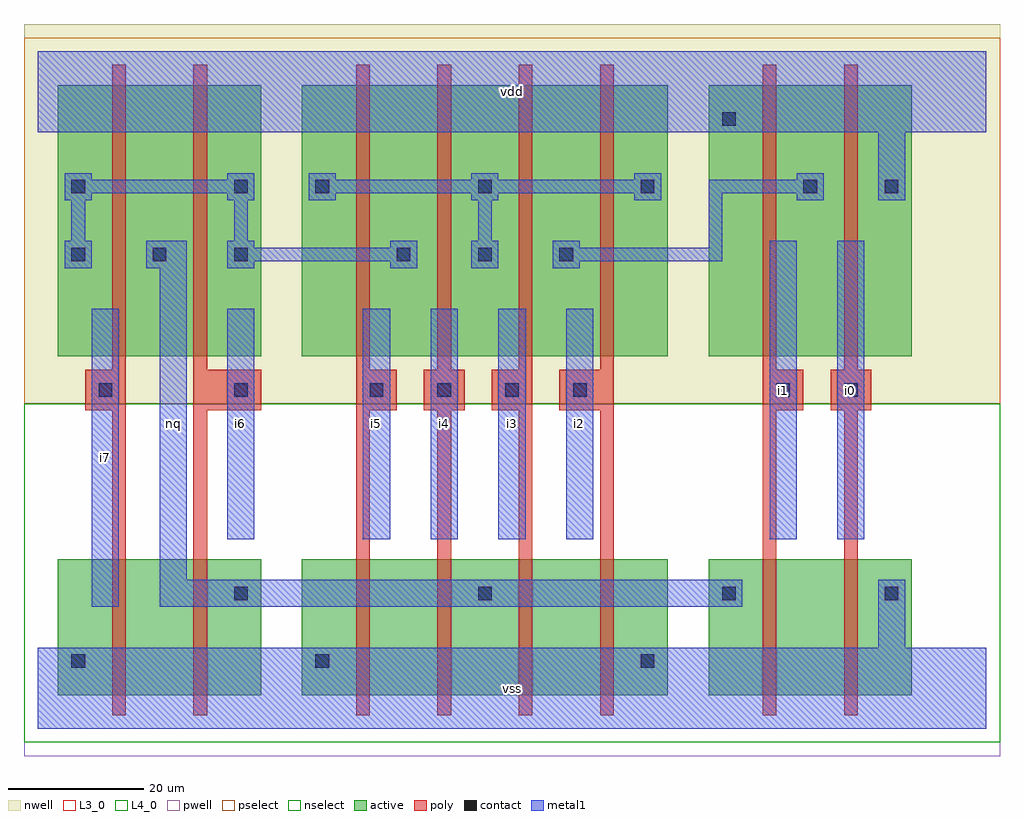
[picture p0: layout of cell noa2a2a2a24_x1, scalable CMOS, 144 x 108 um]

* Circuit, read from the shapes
.subckt noa2a2a2a24_x1 i0 i1 i2 i3 i4 i5 i6 i7 nq vdd vss
M1 n1 i7 vss VSUBS nfet w=20u l=2u
M2 nq i6 n1 VSUBS nfet w=20u l=2u
M3 n2 i5 vss VSUBS nfet w=20u l=2u
M4 nq i4 n2 VSUBS nfet w=20u l=2u
M5 n3 i3 nq VSUBS nfet w=20u l=2u
M6 vss i2 n3 VSUBS nfet w=20u l=2u
M7 n4 i1 nq VSUBS nfet w=20u l=2u
M8 vss i0 n4 VSUBS nfet w=20u l=2u
M9 nq i7 n5 n6 pfet w=40u l=2u
M10 n5 i6 nq n6 pfet w=40u l=2u
M11 n5 i5 n7 n6 pfet w=40u l=2u
M12 n7 i4 n5 n6 pfet w=40u l=2u
M13 n8 i3 n7 n6 pfet w=40u l=2u
M14 n7 i2 n8 n6 pfet w=40u l=2u
M15 n8 i1 vdd n6 pfet w=40u l=2u
M16 vdd i0 n8 n6 pfet w=40u l=2u
.ends

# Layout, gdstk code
import gdstk
lib = gdstk.Library(unit=1e-6, precision=1e-09)
def R(c, l, rs):  # rectangles x0, y0, x1, y1
    for r in rs: c.add(gdstk.rectangle(r[:2], r[2:], *l))
def A(c, l, x, y, w, h, nx, ny, dx, dy):  # array of equal rectangles
    R(c, l, [(x+i*dx, y+j*dy, x+i*dx+w, y+j*dy+h) for i in range(nx) for j in range(ny)])
L3_0 = (3, 0)
L4_0 = (4, 0)
contact = (25, 0)
pwell = (41, 0)
nwell = (42, 0)
active = (43, 0)
pselect = (44, 0)
nselect = (45, 0)
poly = (46, 0)
metal1 = (49, 0)

noa2a2a2a24_x1 = lib.new_cell('noa2a2a2a24_x1')
R(noa2a2a2a24_x1, L3_0, [(3,5,33,25), (39,5,93,25), (99,5,129,25)])
R(noa2a2a2a24_x1, L4_0, [(3,55,33,95), (39,55,93,95), (99,55,129,95)])
A(noa2a2a2a24_x1, contact, 29, 19, 2, 2, 3, 1, 36, 0)
A(noa2a2a2a24_x1, contact, 9, 49, 2, 2, 3, 1, 20, 0)
A(noa2a2a2a24_x1, contact, 59, 49, 2, 2, 3, 1, 10, 0)
A(noa2a2a2a24_x1, contact, 5, 69, 2, 2, 3, 1, 12, 0)
A(noa2a2a2a24_x1, contact, 53, 69, 2, 2, 3, 1, 12, 0)
A(noa2a2a2a24_x1, contact, 41, 79, 2, 2, 4, 1, 24, 0)
R(noa2a2a2a24_x1, contact, [(5,9,7,11), (41,9,43,11), (89,9,91,11), (125,19,127,21), (109,49,111,51), (119,49,121,51), (5,79,7,81), (29,79,31,81), (125,79,127,81), (101,89,103,91)])
R(noa2a2a2a24_x1, pwell, [(-2,-4,142,48)])
R(noa2a2a2a24_x1, nwell, [(-2,48,142,104)])
R(noa2a2a2a24_x1, active, [(3,5,33,25), (39,5,93,25), (99,5,129,25), (3,55,33,95), (39,55,93,95), (99,55,129,95)])
R(noa2a2a2a24_x1, pselect, [(-2,48,142,102)])
R(noa2a2a2a24_x1, nselect, [(-2,-2,142,48)])
A(noa2a2a2a24_x1, poly, 47, 2, 2, 45, 4, 2, 12, 51)
A(noa2a2a2a24_x1, poly, 47, 47, 6, 6, 3, 1, 10, 0)
R(noa2a2a2a24_x1, poly, [(11,2,13,47), (23,2,25,47), (107,2,109,47), (119,2,121,47), (7,47,13,53), (23,47,33,53), (77,47,85,53), (107,47,113,53), (117,47,123,53), (11,53,13,98), (23,53,25,98), (107,53,109,98), (119,53,121,98)])
A(noa2a2a2a24_x1, metal1, 48, 28, 4, 34, 4, 1, 10, 0)
A(noa2a2a2a24_x1, metal1, 28, 68, 4, 1, 3, 2, 24, 3)
A(noa2a2a2a24_x1, metal1, 40, 78, 4, 1, 4, 2, 24, 3)
R(noa2a2a2a24_x1, metal1, [(0,0,140,12), (124,12,128,22), (8,18,12,62), (18,18,104,22), (18,22,22,68), (28,28,32,62), (108,28,112,72), (118,28,122,72), (4,68,8,72), (16,68,22,72), (64,68,68,72), (28,69,56,71), (76,69,101,71), (99,71,101,79), (5,72,7,78), (29,72,31,78), (65,72,67,78), (4,78,8,79), (28,78,32,79), (124,78,128,88), (4,79,32,81), (40,79,92,81), (99,79,116,81), (4,81,8,82), (28,81,32,82), (0,88,140,100)])
noa2a2a2a24_x1.add(gdstk.Label('nq', (20,45), layer=49, texttype=0))
noa2a2a2a24_x1.add(gdstk.Label('i7', (10,40), layer=49, texttype=0))
noa2a2a2a24_x1.add(gdstk.Label('i5', (50,45), layer=49, texttype=0))
noa2a2a2a24_x1.add(gdstk.Label('i6', (30,45), layer=49, texttype=0))
noa2a2a2a24_x1.add(gdstk.Label('vss', (70,6), layer=49, texttype=0))
noa2a2a2a24_x1.add(gdstk.Label('i3', (70,45), layer=49, texttype=0))
noa2a2a2a24_x1.add(gdstk.Label('i2', (80,45), layer=49, texttype=0))
noa2a2a2a24_x1.add(gdstk.Label('i4', (60,45), layer=49, texttype=0))
noa2a2a2a24_x1.add(gdstk.Label('vdd', (70,94), layer=49, texttype=0))
noa2a2a2a24_x1.add(gdstk.Label('i1', (110,50), layer=49, texttype=0))
noa2a2a2a24_x1.add(gdstk.Label('i0', (120,50), layer=49, texttype=0))

lib.write_gds('noa2a2a2a24_x1.gds')
